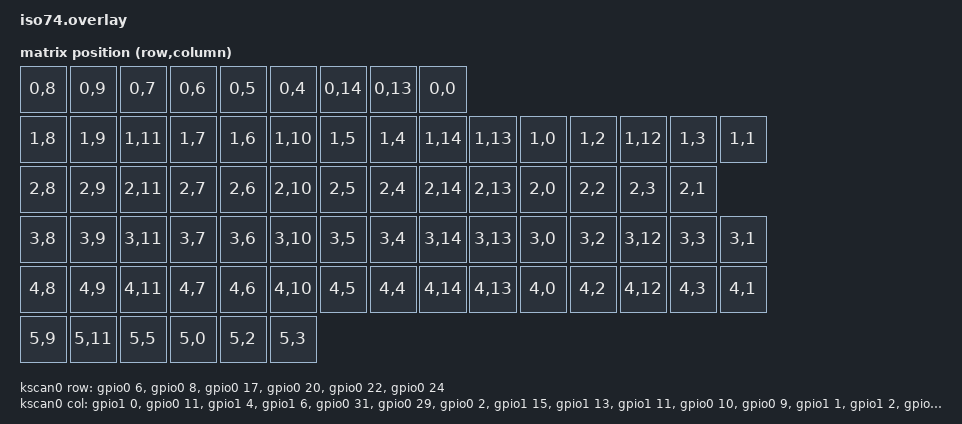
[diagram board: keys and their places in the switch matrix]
/*
 * iso74 - 74-key handwired unibody keyboard
 * Controller: Supermini nRF52840 (nice!nano v2 pin-compatible -> build as nice_nano)
 * Matrix: 6 rows x 15 columns
 * Diodes: one per switch on the column-side leg, anode toward the switch / cathode
 *         (stripe) toward the COLUMN bus => current flows row -> column
 *         => diode-direction = "row2col"
 *
 * In row2col the ROWS are the driven outputs and the COLUMNS are the read inputs,
 * so the pull-down sits on the col-gpios (inputs). Rows are plain active-high outputs.
 *
 * Pins use raw &gpio0 / &gpio1 references (NOT &pro_micro) because three columns land
 * on P1.01 / P1.02 / P1.07 which are not part of the pro-micro connector.
 */

#include <dt-bindings/zmk/matrix_transform.h>

/ {
	chosen {
		zmk,kscan = &kscan0;
		zmk,matrix_transform = &default_transform;
	};

	/*
	 * Real 74-key layout transform, built from the discovery scan. Lists each physical
	 * key in reading order (top-left -> bottom-right) at its firmware (row,col). The
	 * columns were wired in a scrambled order; this remaps them to the real layout.
	 * ISO enter switch = RC(3,12); its top-half slot (physical tab row) has no switch.
	 */
	default_transform: keymap_transform {
		compatible = "zmk,matrix-transform";
		columns = <15>;
		rows = <6>;
		map = <
RC(0,8)  RC(0,9)  RC(0,7)  RC(0,6)  RC(0,5)  RC(0,4)  RC(0,14) RC(0,13) RC(0,0)
RC(1,8)  RC(1,9)  RC(1,11) RC(1,7)  RC(1,6)  RC(1,10) RC(1,5)  RC(1,4)  RC(1,14) RC(1,13) RC(1,0)  RC(1,2)  RC(1,12) RC(1,3)  RC(1,1)
RC(2,8)  RC(2,9)  RC(2,11) RC(2,7)  RC(2,6)  RC(2,10) RC(2,5)  RC(2,4)  RC(2,14) RC(2,13) RC(2,0)  RC(2,2)  RC(2,3)  RC(2,1)
RC(3,8)  RC(3,9)  RC(3,11) RC(3,7)  RC(3,6)  RC(3,10) RC(3,5)  RC(3,4)  RC(3,14) RC(3,13) RC(3,0)  RC(3,2)  RC(3,12) RC(3,3)  RC(3,1)
RC(4,8)  RC(4,9)  RC(4,11) RC(4,7)  RC(4,6)  RC(4,10) RC(4,5)  RC(4,4)  RC(4,14) RC(4,13) RC(4,0)  RC(4,2)  RC(4,12) RC(4,3)  RC(4,1)
RC(5,9)  RC(5,11) RC(5,5)  RC(5,0)  RC(5,2)  RC(5,3)
		>;
	};

	kscan0: kscan {
		compatible = "zmk,kscan-gpio-matrix";
		diode-direction = "row2col";

		/* rows = driven outputs (one bare copper bus per physical row) */
		row-gpios
			= <&gpio0 6  GPIO_ACTIVE_HIGH>   /* row0  P0.06 */
			, <&gpio0 8  GPIO_ACTIVE_HIGH>   /* row1  P0.08 */
			, <&gpio0 17 GPIO_ACTIVE_HIGH>   /* row2  P0.17 */
			, <&gpio0 20 GPIO_ACTIVE_HIGH>   /* row3  P0.20 */
			, <&gpio0 22 GPIO_ACTIVE_HIGH>   /* row4  P0.22 */
			, <&gpio0 24 GPIO_ACTIVE_HIGH>   /* row5  P0.24 */
			;

		/* cols = read inputs (diode side of each switch), pulled low */
		col-gpios
			= <&gpio1 0  (GPIO_ACTIVE_HIGH | GPIO_PULL_DOWN)>   /* col0   P1.00 */
			, <&gpio0 11 (GPIO_ACTIVE_HIGH | GPIO_PULL_DOWN)>   /* col1   P0.11 */
			, <&gpio1 4  (GPIO_ACTIVE_HIGH | GPIO_PULL_DOWN)>   /* col2   P1.04 */
			, <&gpio1 6  (GPIO_ACTIVE_HIGH | GPIO_PULL_DOWN)>   /* col3   P1.06 */
			, <&gpio0 31 (GPIO_ACTIVE_HIGH | GPIO_PULL_DOWN)>   /* col4   P0.31 */
			, <&gpio0 29 (GPIO_ACTIVE_HIGH | GPIO_PULL_DOWN)>   /* col5   P0.29 */
			, <&gpio0 2  (GPIO_ACTIVE_HIGH | GPIO_PULL_DOWN)>   /* col6   P0.02 */
			, <&gpio1 15 (GPIO_ACTIVE_HIGH | GPIO_PULL_DOWN)>   /* col7   P1.15 */
			, <&gpio1 13 (GPIO_ACTIVE_HIGH | GPIO_PULL_DOWN)>   /* col8   P1.13 */
			, <&gpio1 11 (GPIO_ACTIVE_HIGH | GPIO_PULL_DOWN)>   /* col9   P1.11 */
			, <&gpio0 10 (GPIO_ACTIVE_HIGH | GPIO_PULL_DOWN)>   /* col10  P0.10 (NFC) */
			, <&gpio0 9  (GPIO_ACTIVE_HIGH | GPIO_PULL_DOWN)>   /* col11  P0.09 (NFC) */
			, <&gpio1 1  (GPIO_ACTIVE_HIGH | GPIO_PULL_DOWN)>   /* col12  P1.01 */
			, <&gpio1 2  (GPIO_ACTIVE_HIGH | GPIO_PULL_DOWN)>   /* col13  P1.02 */
			, <&gpio1 7  (GPIO_ACTIVE_HIGH | GPIO_PULL_DOWN)>   /* col14  P1.07 */
			;
	};
};

/*
 * Zephyr 4.1: free the NFC pins (P0.09 = col11, P0.10 = col10) for use as normal
 * GPIO via devicetree. Replaces the removed CONFIG_NFCT_PINS_AS_GPIOS Kconfig.
 */
&uicr {
	nfct-pins-as-gpios;
};
